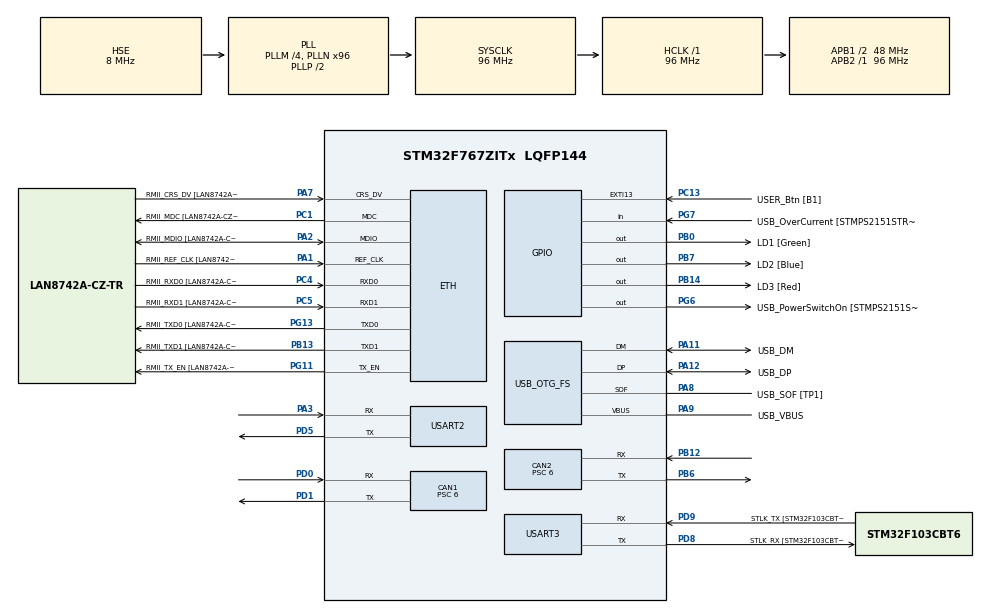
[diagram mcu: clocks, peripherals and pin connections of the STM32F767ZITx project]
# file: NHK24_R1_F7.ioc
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CAN1.BS1=CAN_BS1_6TQ
CAN1.CalculateBaudRate=1000000
CAN1.CalculateTimeBit=1000
CAN1.CalculateTimeQuantum=125.0
CAN1.Prescaler=6
CAN1.TXFP=ENABLE
CAN2.BS1=CAN_BS1_6TQ
CAN2.CalculateBaudRate=1000000
CAN2.CalculateTimeBit=1000
CAN2.CalculateTimeQuantum=125.0
CAN2.Prescaler=6
CAN2.TXFP=ENABLE
Dma.Request0=USART3_RX
Dma.Request1=USART3_TX
Dma.Request2=USART2_TX
Dma.USART2_TX.2.Direction=DMA_MEMORY_TO_PERIPH
Dma.USART2_TX.2.FIFOMode=DMA_FIFOMODE_DISABLE
Dma.USART2_TX.2.Instance=DMA1_Stream6
Dma.USART2_TX.2.MemDataAlignment=DMA_MDATAALIGN_BYTE
Dma.USART2_TX.2.MemInc=DMA_MINC_ENABLE
Dma.USART2_TX.2.Mode=DMA_NORMAL
Dma.USART2_TX.2.PeriphDataAlignment=DMA_PDATAALIGN_BYTE
Dma.USART2_TX.2.PeriphInc=DMA_PINC_DISABLE
Dma.USART2_TX.2.Priority=DMA_PRIORITY_LOW
Dma.USART3_RX.0.Direction=DMA_PERIPH_TO_MEMORY
Dma.USART3_RX.0.FIFOMode=DMA_FIFOMODE_DISABLE
Dma.USART3_RX.0.Instance=DMA1_Stream1
Dma.USART3_RX.0.MemDataAlignment=DMA_MDATAALIGN_BYTE
Dma.USART3_RX.0.MemInc=DMA_MINC_ENABLE
Dma.USART3_RX.0.Mode=DMA_CIRCULAR
Dma.USART3_RX.0.PeriphDataAlignment=DMA_PDATAALIGN_BYTE
Dma.USART3_RX.0.PeriphInc=DMA_PINC_DISABLE
Dma.USART3_RX.0.Priority=DMA_PRIORITY_VERY_HIGH
Dma.USART3_TX.1.Direction=DMA_MEMORY_TO_PERIPH
Dma.USART3_TX.1.FIFOMode=DMA_FIFOMODE_DISABLE
Dma.USART3_TX.1.Instance=DMA1_Stream3
Dma.USART3_TX.1.MemDataAlignment=DMA_MDATAALIGN_BYTE
Dma.USART3_TX.1.MemInc=DMA_MINC_ENABLE
Dma.USART3_TX.1.Mode=DMA_NORMAL
Dma.USART3_TX.1.PeriphDataAlignment=DMA_PDATAALIGN_BYTE
Dma.USART3_TX.1.PeriphInc=DMA_PINC_DISABLE
Dma.USART3_TX.1.Priority=DMA_PRIORITY_VERY_HIGH
ETH.MediaInterface=HAL_ETH_RMII_MODE
ETH.PHY_Name=LAN8742A_PHY_ADDRESS
ETH.PHY_Value=0
ETH.PhyAddress=0
FREERTOS.Tasks01=defaultTask,24,3000,StartDefaultTask,Default,NULL,Static,defaultTaskBuffer,defaultTaskControlBlock;LEDTask,8,128,StartLEDTask,Default,NULL,Static,LEDTaskBuffer,LEDTaskControlBlock
FREERTOS.Timers01=C620Timer,C620TimerCallback,osTimerPeriodic,Default,NULL,Static,C620TimerControlBlock
Mcu.Family=STM32F7
Mcu.Name=STM32F767ZITx
Mcu.Package=LQFP144
NVIC.CAN1_RX0_IRQn=true\:5\:0\:false\:false\:true\:true\:true\:true\:true
NVIC.CAN1_RX1_IRQn=true\:5\:0\:false\:false\:true\:true\:true\:true\:true
NVIC.CAN1_TX_IRQn=true\:5\:0\:false\:false\:true\:true\:true\:true\:true
NVIC.CAN2_RX0_IRQn=true\:5\:0\:false\:false\:true\:true\:true\:true\:true
NVIC.CAN2_RX1_IRQn=true\:5\:0\:false\:false\:true\:true\:true\:true\:true
NVIC.CAN2_TX_IRQn=true\:5\:0\:false\:false\:true\:true\:true\:true\:true
NVIC.DMA1_Stream1_IRQn=true\:5\:0\:false\:false\:true\:true\:false\:true\:true
NVIC.DMA1_Stream3_IRQn=true\:5\:0\:false\:false\:true\:true\:false\:true\:true
NVIC.DMA1_Stream6_IRQn=true\:5\:0\:false\:false\:true\:true\:false\:true\:true
NVIC.OTG_FS_IRQn=true\:5\:0\:false\:false\:true\:true\:false\:true\:true
NVIC.PriorityGroup=NVIC_PRIORITYGROUP_4
NVIC.TIM1_UP_TIM10_IRQn=true\:15\:0\:false\:false\:true\:false\:false\:true\:true
NVIC.TimeBase=TIM1_UP_TIM10_IRQn
NVIC.TimeBaseIP=TIM1
NVIC.USART2_IRQn=true\:5\:0\:false\:false\:true\:true\:true\:true\:true
NVIC.USART3_IRQn=true\:5\:0\:false\:false\:true\:true\:true\:true\:true
PA1.GPIO_Label=RMII_REF_CLK [LAN8742A-CZ-TR_REFCLK0]
PA1.Mode=RMII
PA1.Signal=ETH_REF_CLK
PA10.GPIO_Label=USB_ID
PA10.Signal=USB_OTG_FS_ID
PA11.GPIO_Label=USB_DM
PA11.Mode=Device_Only
PA11.Signal=USB_OTG_FS_DM
PA12.GPIO_Label=USB_DP
PA12.Mode=Device_Only
PA12.Signal=USB_OTG_FS_DP
PA13.GPIO_Label=TMS
PA13.Mode=Serial_Wire
PA13.Signal=SYS_JTMS-SWDIO
PA14.GPIO_Label=TCK
PA14.Mode=Serial_Wire
PA14.Signal=SYS_JTCK-SWCLK
PA2.GPIO_Label=RMII_MDIO [LAN8742A-CZ-TR_MDIO]
PA2.Mode=RMII
PA2.Signal=ETH_MDIO
PA3.Mode=Asynchronous
PA3.Signal=USART2_RX
PA7.GPIO_Label=RMII_CRS_DV [LAN8742A-CZ-TR_CRS_DV]
PA7.Mode=RMII
PA7.Signal=ETH_CRS_DV
PA8.GPIO_Label=USB_SOF [TP1]
PA8.Mode=Activate_SOF_FS
PA8.Signal=USB_OTG_FS_SOF
PA9.GPIO_Label=USB_VBUS
PA9.Mode=Activate_VBUS
PA9.Signal=USB_OTG_FS_VBUS
PB0.GPIO_Label=LD1 [Green]
PB0.Signal=GPIO_Output
PB12.Mode=CAN_Activate
PB12.Signal=CAN2_RX
PB13.GPIO_Label=RMII_TXD1 [LAN8742A-CZ-TR_TXD1]
PB13.Mode=RMII
PB13.Signal=ETH_TXD1
PB14.GPIO_Label=LD3 [Red]
PB14.Signal=GPIO_Output
PB3.GPIO_Label=SWO
PB3.Signal=SYS_JTDO-SWO
PB6.Mode=CAN_Activate
PB6.Signal=CAN2_TX
PB7.GPIO_Label=LD2 [Blue]
PB7.Signal=GPIO_Output
PC1.GPIO_Label=RMII_MDC [LAN8742A-CZ-TR_MDC]
PC1.Mode=RMII
PC1.Signal=ETH_MDC
PC13.GPIO_Label=USER_Btn [B1]
PC13.Signal=GPXTI13
PC14/OSC32_IN.Mode=LSE-External-Oscillator
PC14/OSC32_IN.Signal=RCC_OSC32_IN
PC15/OSC32_OUT.Mode=LSE-External-Oscillator
PC15/OSC32_OUT.Signal=RCC_OSC32_OUT
PC4.GPIO_Label=RMII_RXD0 [LAN8742A-CZ-TR_RXD0]
PC4.Mode=RMII
PC4.Signal=ETH_RXD0
PC5.GPIO_Label=RMII_RXD1 [LAN8742A-CZ-TR_RXD1]
PC5.Mode=RMII
PC5.Signal=ETH_RXD1
PD0.Mode=CAN_Activate
PD0.Signal=CAN1_RX
PD1.Mode=CAN_Activate
PD1.Signal=CAN1_TX
PD5.Mode=Asynchronous
PD5.Signal=USART2_TX
PD8.GPIO_Label=STLK_RX [STM32F103CBT6_PA3]
PD8.Mode=Asynchronous
PD8.Signal=USART3_TX
PD9.GPIO_Label=STLK_TX [STM32F103CBT6_PA2]
PD9.Mode=Asynchronous
PD9.Signal=USART3_RX
PG11.GPIO_Label=RMII_TX_EN [LAN8742A-CZ-TR_TXEN]
PG11.Mode=RMII
PG11.Signal=ETH_TX_EN
PG13.GPIO_Label=RMII_TXD0 [LAN8742A-CZ-TR_TXD0]
PG13.Mode=RMII
PG13.Signal=ETH_TXD0
PG6.GPIO_Label=USB_PowerSwitchOn [STMPS2151STR_EN]
PG6.Signal=GPIO_Output
PG7.GPIO_Label=USB_OverCurrent [STMPS2151STR_FAULT]
PG7.Signal=GPIO_Input
PH0/OSC_IN.GPIO_Label=MCO [STM32F103CBT6_PA8]
PH0/OSC_IN.Mode=HSE-External-Oscillator
PH0/OSC_IN.Signal=RCC_OSC_IN
PH1/OSC_OUT.Mode=HSE-External-Oscillator
PH1/OSC_OUT.Signal=RCC_OSC_OUT
ProjectManager.HeapSize=0x200
ProjectManager.StackSize=0x400
ProjectManager.TargetToolchain=STM32CubeIDE
RCC.48MHZClocksFreq_Value=24000000
RCC.AHBFreq_Value=96000000
RCC.APB1CLKDivider=RCC_HCLK_DIV2
RCC.APB1Freq_Value=48000000
RCC.APB1TimFreq_Value=96000000
RCC.APB2Freq_Value=96000000
RCC.APB2TimFreq_Value=96000000
RCC.CortexFreq_Value=96000000
RCC.HCLKFreq_Value=96000000
RCC.HSE_VALUE=8000000
RCC.HSI_VALUE=16000000
RCC.PLLM=4
RCC.PLLMUL=RCC_PLL_MUL9
RCC.PLLN=96
RCC.PLLQ=4
RCC.PRESCALERUSB=RCC_USBCLKSOURCE_PLL_DIV1_5
RCC.SYSCLKFreq_VALUE=96000000
RCC.SYSCLKSource=RCC_SYSCLKSOURCE_PLLCLK
RCC.SYSCLKSourceVirtual=RCC_SYSCLKSOURCE_PLLCLK
RCC.USBFreq_Value=48000000
RCC.VCOOutputFreq_Value=192000000
USART2.VirtualMode-Asynchronous=VM_ASYNC
USART3.VirtualMode-Asynchronous=VM_ASYNC
USB_DEVICE.CLASS_NAME_FS=CDC
USB_DEVICE.VirtualMode-CDC_FS=Cdc
USB_DEVICE.VirtualModeFS=Cdc_FS
USB_OTG_FS.VirtualMode=Device_Only
VP_FREERTOS_VS_CMSIS_V2.Mode=CMSIS_V2
VP_SYS_VS_tim1.Mode=TIM1
VP_USB_DEVICE_VS_USB_DEVICE_CDC_FS.Mode=CDC_FS
board=NUCLEO-F767ZI

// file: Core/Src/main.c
/* USER CODE BEGIN Header */
/**
  ******************************************************************************
  * @file           : main.c
  * @brief          : Main program body
  ******************************************************************************
  * @attention
  *
  * Copyright (c) 2023 STMicroelectronics.
  * All rights reserved.
  *
  * This software is licensed under terms that can be found in the LICENSE file
  * in the root directory of this software component.
  * If no LICENSE file comes with this software, it is provided AS-IS.
  *
  ******************************************************************************
  */
/* USER CODE END Header */
#include "main.h"
#include "cmsis_os.h"
#include "can.h"
#include "dma.h"
#include "eth.h"
#include "usart.h"
#include "usb_device.h"
#include "gpio.h"

/* USER CODE BEGIN Includes */
#include <rmw_microros/rmw_microros.h>
#include "can_utils.h"
#include "stdio.h"
#include "c620_utils.h"
/* USER CODE END Includes */

/* USER CODE BEGIN PD */
#define DISABLE_CAN_WAIT_CONNECT 1
#define DISABLE_C620_WAIT_CONNECT 1	//TODO:0 ni modosu
/* USER CODE END PD */

void SystemClock_Config(void);
void MX_FREERTOS_Init(void);
/* USER CODE BEGIN PFP */
void SystemClock_Config(void);
void MX_FREERTOS_Init(void);
/* USER CODE BEGIN PFP */
#ifdef __GNUC__
#define PUTCHAR_PROTOTYPE int __io_putchar(uint8_t ch)
#else
#define PUTCHAR_PROTOTYPE int fputc(int ch, FILE *f)
#endif /* __GNUC__ */

PUTCHAR_PROTOTYPE {
    HAL_UART_Transmit(&huart2, &ch, 1, 500);
    return ch;
}

void HAL_CAN_TxMailbox0CompleteCallback(CAN_HandleTypeDef *hcan){
    C620_WhenTxMailboxCompleteCallbackCalled(hcan);
    CANLib_WhenTxMailbox0_1_2CompleteCallbackCalled(hcan);
}

void HAL_CAN_TxMailbox0AbortCallback(CAN_HandleTypeDef *hcan){
    C620_WhenTxMailboxAbortCallbackCalled(hcan);
    CANLib_WhenTxMailbox0_1_2AbortCallbackCalled(hcan);
}

void HAL_CAN_TxMailbox1CompleteCallback(CAN_HandleTypeDef *hcan){
    C620_WhenTxMailboxCompleteCallbackCalled(hcan);
    CANLib_WhenTxMailbox0_1_2CompleteCallbackCalled(hcan);
}

void HAL_CAN_TxMailbox1AbortCallback(CAN_HandleTypeDef *hcan){
    C620_WhenTxMailboxAbortCallbackCalled(hcan);
    CANLib_WhenTxMailbox0_1_2AbortCallbackCalled(hcan);
}

void HAL_CAN_TxMailbox2CompleteCallback(CAN_HandleTypeDef *hcan){
    C620_WhenTxMailboxCompleteCallbackCalled(hcan);
    CANLib_WhenTxMailbox0_1_2CompleteCallbackCalled(hcan);
}

void HAL_CAN_TxMailbox2AbortCallback(CAN_HandleTypeDef *hcan){
    C620_WhenTxMailboxAbortCallbackCalled(hcan);
    CANLib_WhenTxMailbox0_1_2AbortCallbackCalled(hcan);
}

void HAL_CAN_RxFifo0MsgPendingCallback(CAN_HandleTypeDef *hcan){
    WhenCANRxFifo0MsgPending(hcan, &num_of_devices);
}

void HAL_CAN_RxFifo1MsgPendingCallback(CAN_HandleTypeDef *hcan){
    C620_WhenCANRxFifo1MsgPending(hcan);
}
/* USER CODE END PFP */

int main(void)
{

  /* MCU Configuration--------------------------------------------------------*/

  /* Reset of all peripherals, Initializes the Flash interface and the Systick. */
  HAL_Init();

  /* Configure the system clock */
  SystemClock_Config();

  /* Initialize all configured peripherals */
  MX_GPIO_Init();
  MX_DMA_Init();
  MX_USART3_UART_Init();
  MX_ETH_Init();
  MX_CAN1_Init();
  MX_CAN2_Init();
  MX_USART2_UART_Init();
  /* USER CODE BEGIN 2 */
  setbuf(stdout, NULL);
  setbuf(stderr, NULL);

  /*
    * ===== CANLib Settings =====
    * */
   HAL_GPIO_TogglePin(GPIOB, GPIO_PIN_14);  // LD3 (RED) ON
   printf("Start Initializing CAN System:Begin\n\r");

   num_of_devices.mcmd3 = NUM_OF_MCMD3; //0
//   num_of_devices.mcmd4 = 0;
   num_of_devices.mcmd4 = NUM_OF_MCMD4;  // TODO: こっちが正しい -> 0
   num_of_devices.air = 2;  // TODO: 2にする

   CAN_SystemInit(&hcan2); // F7のCAN通信のinit
   printf("Start Initializing CAN System:End\n\r");
   if(!DISABLE_CAN_WAIT_CONNECT)CAN_WaitConnect(&num_of_devices);
   HAL_GPIO_TogglePin(GPIOB, GPIO_PIN_7);  // LD2 (Blue) ON

//
// MCMDは2搭載
//

#define calib_
#define debug

#if !defined(debug)
   if((NUM_OF_MCMD4 != 0)||(NUM_OF_MCMD3 != 0)) {

	   //set for rollers
	   mcmd_handlers[0].device.node_id=2;
	   mcmd_handlers[1].device.node_id=2;
	   mcmd_handlers[2].device.node_id=0;
	   mcmd_handlers[0].device.device_num=0;
	   mcmd_handlers[1].device.device_num=1;
	   mcmd_handlers[2].device.device_num=0;

	   for(int i=0; i<3; i++){
	 	  mcmd_handlers[i].device.node_type=NODE_MCMD4;

	       mcmd_handlers[i].ctrl_param.ctrl_type=MCMD_CTRL_DUTY;
	       mcmd_handlers[i].ctrl_param.PID_param.kp=0.10f;
	       mcmd_handlers[i].ctrl_param.PID_param.ki=0.0f;
	       mcmd_handlers[i].ctrl_param.PID_param.kd=0.0f;
	       mcmd_handlers[i].ctrl_param.accel_limit=ACCEL_LIMIT_ENABLE;
	       mcmd_handlers[i].ctrl_param.accel_limit_size=2.0f;
	       mcmd_handlers[i].ctrl_param.feedback=MCMD_FB_ENABLE;
	       mcmd_handlers[i].ctrl_param.timup_monitor=TIMUP_MONITOR_DISABLE;
	       mcmd_handlers[0].enc_dir=MCMD_DIR_BC;
	       mcmd_handlers[0].rot_dir=MCMD_DIR_FW;
	       mcmd_handlers[1].enc_dir=MCMD_DIR_BC;
	       mcmd_handlers[1].rot_dir=MCMD_DIR_FW;
	       mcmd_handlers[2].enc_dir=MCMD_DIR_FW;
	       mcmd_handlers[2].rot_dir=MCMD_DIR_BC;
	       mcmd_handlers[i].quant_per_unit=1.0f;

	       mcmd_handlers[i].limit_sw_type=LIMIT_SW_NC;
	       mcmd_handlers[i].calib=CALIBRATION_DISABLE;
	       mcmd_handlers[i].calib_duty=-0.1f;
	       mcmd_handlers[i].offset=0.0f;
	       mcmd_handlers[i].fb_type=MCMD_FB_VEL;

	       MCMD_init(&mcmd_handlers[i]);
	       osDelay(10);
//	       MCMD_Calib(&mcmd_handlers[i]);
	       osDelay(10);
	       MCMD_SetTarget(&mcmd_handlers[i], 0.0f);
	       osDelay(10);
	       MCMD_Control_Enable(&mcmd_handlers[i]);
	   }

	    //set for turntable
	   mcmd_handlers[3].device.node_id=NODE_MCMD3;
	   mcmd_handlers[3].device.node_id=0;
	   mcmd_handlers[3].device.device_num=1;

	   mcmd_handlers[3].ctrl_param.ctrl_type=MCMD_CTRL_POS;
	   mcmd_handlers[3].ctrl_param.PID_param.kp=0.10f;
	   mcmd_handlers[3].ctrl_param.PID_param.ki=0.0f;
	   mcmd_handlers[3].ctrl_param.PID_param.kd=0.0f;
	   mcmd_handlers[3].ctrl_param.accel_limit=ACCEL_LIMIT_ENABLE;
	   mcmd_handlers[3].ctrl_param.accel_limit_size=2.0f;
	   mcmd_handlers[3].ctrl_param.feedback=MCMD_FB_ENABLE;
	   mcmd_handlers[3].ctrl_param.timup_monitor=TIMUP_MONITOR_DISABLE;
	   mcmd_handlers[3].enc_dir=MCMD_DIR_FW;
	   mcmd_handlers[3].rot_dir=MCMD_DIR_FW;
	   mcmd_handlers[3].quant_per_unit=2.0*M_PI/33.0625;

	   mcmd_handlers[3].limit_sw_type=LIMIT_SW_NC;
#ifdef calib_
	   mcmd_handlers[3].calib=CALIBRATION_ENABLE;
#else
	   mcmd_handlers[3].calib=CALIBRATION_DISABLE;
#endif
	   mcmd_handlers[3].calib_duty=-0.1f;
	   mcmd_handlers[3].offset=0.0f;
	   mcmd_handlers[3].fb_type=MCMD_FB_POS;
	   MCMD_init(&mcmd_handlers[3]);
	   osDelay(10);
	   MCMD_Calib(&mcmd_handlers[3]);
	   osDelay(2000);
	   MCMD_SetTarget(&mcmd_handlers[3], 0.0f);
	   osDelay(10);
	   MCMD_Control_Enable(&mcmd_handlers[3]);

   }
#endif

   // air cylinder

   if(NUM_OF_AIR != 0) {
       air_devices[0].node_type = NODE_AIR;
       air_devices[0].node_id = 1;
       air_devices[0].device_num = PORT_1;

       air_devices[1].node_type = NODE_AIR;
       air_devices[1].node_id = 1;
       air_devices[1].device_num = PORT_1;

       for (uint8_t j = 0; j < NUM_OF_AIR; j++) {
           for (uint8_t i = 0; i <= (uint8_t) PORT_8; i++) {
               air_devices[i].device_num = j;
               AirCylinder_Init(&air_devices[i], AIR_OFF);
           }
       }

       air_devices[0].device_num = PORT_1; //port1に戻す
       air_devices[1].device_num = PORT_1; //port1に戻す

 //      AirCylinder_SendOutput(&air_devices[0], AIR_ON);
 //      AirCylinder_SendOutput(&air_devices[1], AIR_OFF);
   }

   HAL_GPIO_TogglePin(GPIOB, GPIO_PIN_0);  // LD1 (GREEN) ON
   Init_C620_CAN_System(&hcan1);  // Init CAN System for C620
   C620_Init(c620_dev_info_global, num_of_c620);

//   c620_dev_info_global[0].device_id = 1;  // 1スタートな事に注意
//   c620_dev_info_global[0].ctrl_param.accel_limit = C620_ACCEL_LIMIT_ENABLE;
////    c620_dev_info_global[0].ctrl_param.use_internal_offset = C620_USE_OFFSET_POS_CALIB;
//   c620_dev_info_global[0].ctrl_param.use_internal_offset = C620_USE_OFFSET_POS_INTERNAL;
//   c620_dev_info_global[0].ctrl_param.ctrl_type = C620_CTRL_POS;
//   c620_dev_info_global[0].ctrl_param.accel_limit_size = 15.0f;
////    c620_dev_info_global[0].ctrl_param.accel_limit_size = 5.0f;
//   c620_dev_info_global[0].ctrl_param.quant_per_rot = 1.0f/19.0f / 3.0f * 3.141592f * 2.0f;  //M3508は19:1
//   c620_dev_info_global[0].ctrl_param.rotation = C620_ROT_ACW;
//
//   c620_dev_info_global[0].ctrl_param.pid_vel.kp = 4.5f;  // 位置制御の場合はpid_velに速度制御用のgainを設定する
//   c620_dev_info_global[0].ctrl_param.pid_vel.ki = 0.0f;
//   c620_dev_info_global[0].ctrl_param.pid_vel.kd = 0.0f;
//   c620_dev_info_global[0].ctrl_param.pid_vel.kff = 0.0f;
//
////    c620_dev_info_global[0].ctrl_param.pid.kp = 10.0f;  // 位置制御用
//   c620_dev_info_global[0].ctrl_param.pid.kp = 12.3f;  // 位置制御用
//   c620_dev_info_global[0].ctrl_param.pid.ki = 0.16f;
////    c620_dev_info_global[0].ctrl_param.pid.ki = 0.0f;
//   c620_dev_info_global[0].ctrl_param.pid.kd = 0.0f;
//   c620_dev_info_global[0].ctrl_param.pid.kff = 0.0f;
//
//
//
//   c620_dev_info_global[1].device_id = 2;
//   c620_dev_info_global[1].ctrl_param.accel_limit = C620_ACCEL_LIMIT_ENABLE;
//   c620_dev_info_global[1].ctrl_param.use_internal_offset = C620_USE_OFFSET_POS_INTERNAL;
//   c620_dev_info_global[1].ctrl_param.ctrl_type = C620_CTRL_POS;
//   c620_dev_info_global[1].ctrl_param.accel_limit_size = 1500.0f;
////    c620_dev_info_global[1].ctrl_param.accel_limit_size = 800.0f;
//   c620_dev_info_global[1].ctrl_param.quant_per_rot = 1.0f/19.0f * 300.0f;  //M3508は19:1
//   c620_dev_info_global[1].ctrl_param.rotation = C620_ROT_CW;
//
////    c620_dev_info_global[1].ctrl_param.pid_vel.kp = 0.1f;  // 位置制御の場合はpid_velに速度制御用のgainを設定する  // TODO: これまでのgain
//   c620_dev_info_global[1].ctrl_param.pid_vel.kp = 0.15f;  // 位置制御の場合はpid_velに速度制御用のgainを設定する
//   c620_dev_info_global[1].ctrl_param.pid_vel.ki = 0.0f;
//   c620_dev_info_global[1].ctrl_param.pid_vel.kd = 0.0f;
//   c620_dev_info_global[1].ctrl_param.pid_vel.kff = 0.0f;
//
//   c620_dev_info_global[1].ctrl_param.pid.kp = 10.0f;  // 位置制御用
////    c620_dev_info_global[1].ctrl_param.pid.kp = 9.0f;  // 位置制御用
//   c620_dev_info_global[1].ctrl_param.pid.ki = 0.05f;
////    c620_dev_info_global[1].ctrl_param.pid.ki = 0.1f;
//   c620_dev_info_global[1].ctrl_param.pid.kd = 0.0f;
//   c620_dev_info_global[1].ctrl_param.pid.kff = 0.0f;
//
//   HAL_GPIO_TogglePin(GPIOB, GPIO_PIN_0);  // LD1 (GREEN) ON
//   Init_C620_CAN_System(&hcan1);  // Init CAN System for C620
//   C620_Init(c620_dev_info_global, num_of_c620);
//
//
//   c620_dev_info_global[2].device_id = 3;  // 1スタートな事に注意
//   c620_dev_info_global[2].ctrl_param.accel_limit = C620_ACCEL_LIMIT_ENABLE;
////    c620_dev_info_global[2].ctrl_param.use_internal_offset = C620_USE_OFFSET_POS_CALIB;
//   c620_dev_info_global[2].ctrl_param.use_internal_offset = C620_USE_OFFSET_POS_INTERNAL;
//   c620_dev_info_global[2].ctrl_param.ctrl_type = C620_CTRL_POS;
//   c620_dev_info_global[2].ctrl_param.accel_limit_size = 15.0f;
////    c620_dev_info_global[2].ctrl_param.accel_limit_size = 5.0f;
//   c620_dev_info_global[2].ctrl_param.quant_per_rot = 1.0f/19.0f / 3.0f * 3.141592f * 2.0f;  //M3508は19:1
//   c620_dev_info_global[2].ctrl_param.rotation = C620_ROT_ACW;
//
//   c620_dev_info_global[2].ctrl_param.pid_vel.kp = 4.5f;  // 位置制御の場合はpid_velに速度制御用のgainを設定する
//   c620_dev_info_global[2].ctrl_param.pid_vel.ki = 0.0f;
//   c620_dev_info_global[2].ctrl_param.pid_vel.kd = 0.0f;
//   c620_dev_info_global[2].ctrl_param.pid_vel.kff = 0.0f;
//
////    c620_dev_info_global[2].ctrl_param.pid.kp = 10.0f;  // 位置制御用
//   c620_dev_info_global[2].ctrl_param.pid.kp = 12.3f;  // 位置制御用
//   c620_dev_info_global[2].ctrl_param.pid.ki = 0.16f;
////    c620_dev_info_global[2].ctrl_param.pid.ki = 0.0f;
//   c620_dev_info_global[2].ctrl_param.pid.kd = 0.0f;
//   c620_dev_info_global[2].ctrl_param.pid.kff = 0.0f;
//
//
//   c620_dev_info_global[3].device_id = 4;
//   c620_dev_info_global[3].ctrl_param.accel_limit = C620_ACCEL_LIMIT_ENABLE;
//   c620_dev_info_global[3].ctrl_param.use_internal_offset = C620_USE_OFFSET_POS_INTERNAL;
//   c620_dev_info_global[3].ctrl_param.ctrl_type = C620_CTRL_POS;
//   c620_dev_info_global[3].ctrl_param.accel_limit_size = 1500.0f;
////    c620_dev_info_global[3].ctrl_param.accel_limit_size = 800.0f;
//   c620_dev_info_global[3].ctrl_param.quant_per_rot = 1.0f/19.0f * 300.0f;  //M3508は19:1
//   c620_dev_info_global[3].ctrl_param.rotation = C620_ROT_CW;
//
////    c620_dev_info_global[3].ctrl_param.pid_vel.kp = 0.1f;  // 位置制御の場合はpid_velに速度制御用のgainを設定する  // TODO: これまでのgain
//   c620_dev_info_global[3].ctrl_param.pid_vel.kp = 0.15f;  // 位置制御の場合はpid_velに速度制御用のgainを設定する
//   c620_dev_info_global[3].ctrl_param.pid_vel.ki = 0.0f;
//   c620_dev_info_global[3].ctrl_param.pid_vel.kd = 0.0f;
//   c620_dev_info_global[3].ctrl_param.pid_vel.kff = 0.0f;
//
//   c620_dev_info_global[3].ctrl_param.pid.kp = 10.0f;  // 位置制御用
////    c620_dev_info_global[3].ctrl_param.pid.kp = 9.0f;  // 位置制御用
//   c620_dev_info_global[3].ctrl_param.pid.ki = 0.05f;
////    c620_dev_info_global[3].ctrl_param.pid.ki = 0.1f;
//   c620_dev_info_global[3].ctrl_param.pid.kd = 0.0f;
//   c620_dev_info_global[3].ctrl_param.pid.kff = 0.0f;
//

   //TODO: 足回りの統一
   for(int i=0; i<num_of_c620; i++){
   	  c620_dev_info_global[i].device_id = i+1;//1スタートな事に注意
   	  c620_dev_info_global[i].ctrl_param.accel_limit = C620_ACCEL_LIMIT_ENABLE;
   	  //c620_dev_info_global[i].ctrl_param.use_internal_offset = C620_USE_OFFSET_POS_CALIB;//リミットスイッチを使ったCalibrationによって原点を決める場合
   	  c620_dev_info_global[i].ctrl_param.use_internal_offset = C620_USE_OFFSET_POS_INTERNAL;//最初の位置を原点とする場合
   	  c620_dev_info_global[i].ctrl_param.ctrl_type = C620_CTRL_VEL;//VELやCURRENT(電流)もある
   	  c620_dev_info_global[i].ctrl_param.accel_limit_size = 5.0f;
   	  c620_dev_info_global[i].ctrl_param.quant_per_rot = 12.0f * M_PI /19.0f;//M3508は19:1
   	  c620_dev_info_global[0].ctrl_param.rotation = C620_ROT_ACW;//半時計周り
   	  c620_dev_info_global[1].ctrl_param.rotation = C620_ROT_ACW;//半時計周り
   	  c620_dev_info_global[2].ctrl_param.rotation = C620_ROT_CW;//時計周り
   	  c620_dev_info_global[3].ctrl_param.rotation = C620_ROT_CW;//時計周り

   	  c620_dev_info_global[i].ctrl_param.pid_vel.kp = 0.5f;//位置制御の場合はpid_velに速度制御用のgainを設定する
   	  c620_dev_info_global[i].ctrl_param.pid_vel.ki = 0.0f;
   	  c620_dev_info_global[i].ctrl_param.pid_vel.kd = 0.0f;
   	  c620_dev_info_global[i].ctrl_param.pid_vel.kff = 0.0f;

   	  c620_dev_info_global[i].ctrl_param.pid.kp = 5.0f;//位置制御用
   	  c620_dev_info_global[i].ctrl_param.pid.ki = 0.0f;
   	  c620_dev_info_global[i].ctrl_param.pid.kd = 0.0f;
   	  c620_dev_info_global[i].ctrl_param.pid.kff = 0.0f;
     }

   for(int i=0; i<num_of_c620; i++)C620_SetTarget(&c620_dev_info_global[i], 0.0f);
   if(!DISABLE_C620_WAIT_CONNECT)C620_WaitForConnect(c620_dev_info_global, num_of_c620);
//    for(int i=0; i<num_of_c620; i++){
//        C620_Calibration(&c620_dev_info_global[i], -2.0f, SWITCH_NO, GPIOG, GPIO_PIN_1, &hcan1);
//        C620_ControlEnable(&(c620_dev_info_global[i]));
//    }
   for(int i=0; i<num_of_c620; i++)C620_ControlEnable(&(c620_dev_info_global[i]));

   printf("C620 Control:Enabled(VEL)\n\r");

 //  HAL_GPIO_TogglePin(GPIOB, GPIO_PIN_14);  // LD3 (RED) -> OFF
   HAL_GPIO_TogglePin(GPIOB, GPIO_PIN_0);  // LD1 (GREEN) -> OFF
  /* USER CODE END 2 */

  /* Init scheduler */
  osKernelInitialize();  /* Call init function for freertos objects (in freertos.c) */
  MX_FREERTOS_Init();

  /* Start scheduler */
  osKernelStart();

  /* We should never get here as control is now taken by the scheduler */
  /* Infinite loop */
  while (1)
  {

  }
}

void SystemClock_Config(void)
{
  RCC_OscInitTypeDef RCC_OscInitStruct = {0};
  RCC_ClkInitTypeDef RCC_ClkInitStruct = {0};

  /** Configure LSE Drive Capability
  */
  HAL_PWR_EnableBkUpAccess();

  /** Configure the main internal regulator output voltage
  */
  __HAL_RCC_PWR_CLK_ENABLE();
  __HAL_PWR_VOLTAGESCALING_CONFIG(PWR_REGULATOR_VOLTAGE_SCALE3);

  /** Initializes the RCC Oscillators according to the specified parameters
  * in the RCC_OscInitTypeDef structure.
  */
  RCC_OscInitStruct.OscillatorType = RCC_OSCILLATORTYPE_HSE;
  RCC_OscInitStruct.HSEState = RCC_HSE_ON;
  RCC_OscInitStruct.PLL.PLLState = RCC_PLL_ON;
  RCC_OscInitStruct.PLL.PLLSource = RCC_PLLSOURCE_HSE;
  RCC_OscInitStruct.PLL.PLLM = 4;
  RCC_OscInitStruct.PLL.PLLN = 96;
  RCC_OscInitStruct.PLL.PLLP = RCC_PLLP_DIV2;
  RCC_OscInitStruct.PLL.PLLQ = 4;
  RCC_OscInitStruct.PLL.PLLR = 2;
  if (HAL_RCC_OscConfig(&RCC_OscInitStruct) != HAL_OK)
  {
    Error_Handler();
  }

  /** Activate the Over-Drive mode
  */
  if (HAL_PWREx_EnableOverDrive() != HAL_OK)
  {
    Error_Handler();
  }

  /** Initializes the CPU, AHB and APB buses clocks
  */
  RCC_ClkInitStruct.ClockType = RCC_CLOCKTYPE_HCLK|RCC_CLOCKTYPE_SYSCLK
                              |RCC_CLOCKTYPE_PCLK1|RCC_CLOCKTYPE_PCLK2;
  RCC_ClkInitStruct.SYSCLKSource = RCC_SYSCLKSOURCE_PLLCLK;
  RCC_ClkInitStruct.AHBCLKDivider = RCC_SYSCLK_DIV1;
  RCC_ClkInitStruct.APB1CLKDivider = RCC_HCLK_DIV2;
  RCC_ClkInitStruct.APB2CLKDivider = RCC_HCLK_DIV1;

  if (HAL_RCC_ClockConfig(&RCC_ClkInitStruct, FLASH_LATENCY_3) != HAL_OK)
  {
    Error_Handler();
  }
}

void HAL_TIM_PeriodElapsedCallback(TIM_HandleTypeDef *htim)
{
  if (htim->Instance == TIM1) {
    HAL_IncTick();
  }
}

void Error_Handler(void)
{
  __disable_irq();
  while (1)
  {
  }
}

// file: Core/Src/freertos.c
/* USER CODE BEGIN Header */
/**
  ******************************************************************************
  * File Name          : freertos.c
  * Description        : Code for freertos applications
  ******************************************************************************
  * @attention
  *
  * Copyright (c) 2023 STMicroelectronics.
  * All rights reserved.
  *
  * This software is licensed under terms that can be found in the LICENSE file
  * in the root directory of this software component.
  * If no LICENSE file comes with this software, it is provided AS-IS.
  *
  ******************************************************************************
  */
/* USER CODE END Header */

#include "FreeRTOS.h"
#include "task.h"
#include "main.h"
#include "cmsis_os.h"

/* USER CODE BEGIN Includes */
#include <rcl/rcl.h>
#include <rcl/error_handling.h>
#include <rosidl_runtime_c/primitives_sequence_functions.h>

#include <rclc/rclc.h>
#include <rclc/executor.h>
#include <uxr/client/transport.h>
#include <rmw_microxrcedds_c/config.h>
#include <rmw_microros/rmw_microros.h>
#include <std_msgs/msg/float64.h>
#include <std_msgs/msg/int32_multi_array.h>
#include <geometry_msgs/msg/twist.h>
#include <geometry_msgs/msg/quaternion.h>
#include <actuator_custom_msgs/msg/hand_air_status.h>
#include <actuator_custom_msgs/msg/shoot_air_status.h>
#include <actuator_custom_msgs/msg/shoot_roller.h>

#include <usart.h>

#include "can_utils.h"
#include "can.h"

#include "math.h"

#include "c620_utils.h"
/* USER CODE END Includes */

typedef StaticTask_t osStaticThreadDef_t;
typedef StaticTimer_t osStaticTimerDef_t;

/* USER CODE BEGIN PD */
#define RCCHECK(fn) { rcl_ret_t temp_rc = fn; if((temp_rc != RCL_RET_OK)){printf("Failed status on line %d: %d. Aborting.\n",__LINE__,(int)temp_rc);vTaskDelete(NULL);}}
#define RCSOFTCHECK(fn) { rcl_ret_t temp_rc = fn; if((temp_rc != RCL_RET_OK)){printf("Failed status on line %d: %d. Continuing.\n",__LINE__,(int)temp_rc);}}

bool cubemx_transport_open(struct uxrCustomTransport * transport);
bool cubemx_transport_close(struct uxrCustomTransport * transport);
size_t cubemx_transport_write(struct uxrCustomTransport* transport, const uint8_t * buf, size_t len, uint8_t * err);
size_t cubemx_transport_read(struct uxrCustomTransport* transport, uint8_t* buf, size_t len, int timeout, uint8_t* err);

void * microros_allocate(size_t size, void * state);
void microros_deallocate(void * pointer, void * state);
void * microros_reallocate(void * pointer, size_t size, void * state);
void * microros_zero_allocate(size_t number_of_elements, size_t size_of_element, void * state);
/* USER CODE END PD */

/* USER CODE BEGIN PM */

rcl_publisher_t publisher_enc1,publisher_enc2;
/* USER CODE END PM */

/* Definitions for defaultTask */
osThreadId_t defaultTaskHandle;
uint32_t defaultTaskBuffer[ 3000 ];
osStaticThreadDef_t defaultTaskControlBlock;
const osThreadAttr_t defaultTask_attributes = {
  .name = "defaultTask",
  .cb_mem = &defaultTaskControlBlock,
  .cb_size = sizeof(defaultTaskControlBlock),
  .stack_mem = &defaultTaskBuffer[0],
  .stack_size = sizeof(defaultTaskBuffer),
  .priority = (osPriority_t) osPriorityNormal,
};
/* Definitions for LEDTask */
osThreadId_t LEDTaskHandle;
uint32_t LEDTaskBuffer[ 128 ];
osStaticThreadDef_t LEDTaskControlBlock;
const osThreadAttr_t LEDTask_attributes = {
  .name = "LEDTask",
  .cb_mem = &LEDTaskControlBlock,
  .cb_size = sizeof(LEDTaskControlBlock),
  .stack_mem = &LEDTaskBuffer[0],
  .stack_size = sizeof(LEDTaskBuffer),
  .priority = (osPriority_t) osPriorityLow,
};
/* Definitions for C620Timer */
osTimerId_t C620TimerHandle;
osStaticTimerDef_t C620TimerControlBlock;
const osTimerAttr_t C620Timer_attributes = {
  .name = "C620Timer",
  .cb_mem = &C620TimerControlBlock,
  .cb_size = sizeof(C620TimerControlBlock),
};

/* USER CODE BEGIN FunctionPrototypes */

//TODO:publisher callback の必要性の検討

//void pub_timer_callback_enc1(rcl_timer_t * timer, int64_t last_call_time){
//    RCLC_UNUSED(last_call_time);
//    std_msgs__msg__Float64 data_msg;
//
//    if (timer != NULL) {
//
//
//
//    }
//}
//
//void pub_timer_callback_enc2(rcl_timer_t * timer, int64_t last_call_time){
//    RCLC_UNUSED(last_call_time);
//    std_msgs__msg__Float64 data_msg;
//
//    if (timer != NULL) {
//
//
//
//    }
//}
//
//void pub_timer_callback_line(rcl_timer_t * timer, int64_t last_call_time){
//    RCLC_UNUSED(last_call_time);
//    geometry_msgs__msg__Quaternion line_sensor;
//
//    if (timer != NULL) {
//
//
//
//    }
//}

void subscription_callback_air_hand(const void * msgin)
{
	 // Cast received message to used type
	  const actuator_custom_msgs__msg__HandAirStatus * status = (const actuator_custom_msgs__msg__HandAirStatus *)msgin;
	  static Air_PortStatus_Typedef air_status[6];

	  air_status[0] = (status->a1) ? AIR_ON : AIR_OFF;
	  air_status[1] = (status->a2) ? AIR_ON : AIR_OFF;
	  air_status[2] = (status->a3) ? AIR_ON : AIR_OFF;
	  air_status[3] = (status->a4) ? AIR_ON : AIR_OFF;
	  air_status[4] = (status->a5) ? AIR_ON : AIR_OFF;
	  air_status[5] = (status->a6) ? AIR_ON : AIR_OFF;

	  if(NUM_OF_AIR>0){
		  for(int i=0;i<NUM_OF_AIR-1;i++){
			  for(int j=0;j<6;j++){       //TODO: j<6は手動
				  air_devices[i].device_num = j;
				  AirCylinder_SendOutput(&air_devices[i], air_status[i]);
			  }
		  }
	  }

	  if(air_status[0]) 	 HAL_GPIO_TogglePin(GPIOB, GPIO_PIN_0);
	//  if(air_status[1]) 	 HAL_GPIO_TogglePin(GPIOB, GPIO_PIN_14);

}

void subscription_callback_air_shoot(const void * msgin)
{
	 // Cast received message to used type
	  const actuator_custom_msgs__msg__ShootAirStatus * status = (const actuator_custom_msgs__msg__ShootAirStatus *)msgin;
	  static Air_PortStatus_Typedef air_status[4];

	  air_status[0] = (status->ca) ? AIR_ON : AIR_OFF;
	  air_status[1] = (status->pi) ? AIR_ON : AIR_OFF;
	  air_status[3] = (status->gu) ? AIR_ON : AIR_OFF;
	  air_status[2] = (status->sh) ? AIR_ON : AIR_OFF;

	  if(NUM_OF_AIR>0){
		  for(int i=1;i<NUM_OF_AIR;i++){
			  for(int j=0;j<4;j++){       //TODO: j<4は手動
				  air_devices[i].device_num = j;
				  AirCylinder_SendOutput(&air_devices[i], air_status[i]);
			  }
		  }
	  }
}

void subscription_callback_mcmd(const void * msgin)
{
	 // Cast received message to used type
	  const actuator_custom_msgs__msg__ShootRoller * rotvels = (const actuator_custom_msgs__msg__ShootRoller *)msgin;
	  static int rpm[3];	//発射用モーター３つ

	  //rpm =  (float)(rotvels->data);
	  rpm[0] = rotvels->m1;		//under duty 0.1
	  rpm[1] = rotvels->m2;		//upper duty 0.4
	  rpm[2] = rotvels->m3;		//upper duty 0.4

	  for(int i=0;i<3;i++){
	  //	rpm[i] = (float)(rotvels->data[i]);
		  MCMD_SetTarget(&(mcmd_handlers[i]), (float)rpm[i]);
	  }

}

void subscription_callback_table(const void * msgin)
{
	 // Cast received message to used type
	  const std_msgs__msg__Float64 * zrot = (const std_msgs__msg__Float64 *)msgin;
	  static float zrot_rad;
	  zrot_rad = zrot->data;

	  MCMD_SetTarget(&(mcmd_handlers[4]), zrot_rad);

}

void subscription_callback(const void * msgin)
{
	 // Cast received message to used type
	  const geometry_msgs__msg__Twist * twist = (const geometry_msgs__msg__Twist *)msgin;
	  static float v_x,v_y,v_theta;

	  v_x = twist->linear.x;
	  v_y = twist->linear.y;
	  v_theta = twist->angular.z;

	  HAL_GPIO_TogglePin(GPIOB, GPIO_PIN_7);

	  Linearmovement(c620_dev_info_global, v_x, v_y, v_theta);
}
//subscriber template

//void subscription_callback(const void * msgin)
//{
//	 // Cast received message to used type
//	  const std_msgs__msg__Int32MultiArray * rotvels = (const std_msgs__msg__Int32MultiArray *)msgin;
//
//
//
//}

/* USER CODE END FunctionPrototypes */

void StartDefaultTask(void *argument);
void StartLEDTask(void *argument);
void C620TimerCallback(void *argument);

extern void MX_USB_DEVICE_Init(void);
void MX_FREERTOS_Init(void); /* (MISRA C 2004 rule 8.1) */

void MX_FREERTOS_Init(void) {

  /* Create the timer(s) */
  /* creation of C620Timer */
  C620TimerHandle = osTimerNew(C620TimerCallback, osTimerPeriodic, NULL, &C620Timer_attributes);

  /* Create the thread(s) */
  /* creation of defaultTask */
  defaultTaskHandle = osThreadNew(StartDefaultTask, NULL, &defaultTask_attributes);

  /* creation of LEDTask */
  LEDTaskHandle = osThreadNew(StartLEDTask, NULL, &LEDTask_attributes);

}

void StartDefaultTask(void *argument)
{
  /* init code for USB_DEVICE */
  MX_USB_DEVICE_Init();
  /* USER CODE BEGIN StartDefaultTask */
	 rmw_uros_set_custom_transport(
			true,
			(void *) &huart3,
			cubemx_transport_open,
			cubemx_transport_close,
			cubemx_transport_write,
			cubemx_transport_read);

	// micro-ROS connection check
	HAL_GPIO_TogglePin(GPIOB, GPIO_PIN_14);  // LD3 (RED) -> ON
	while(1) {
		rmw_ret_t ping_result = rmw_uros_ping_agent(1000, 5);  // ping Agent
		if(ping_result == RMW_RET_OK){
			break;
		}
	}
	HAL_GPIO_TogglePin(GPIOB, GPIO_PIN_14);  // LD3 (RED) -> OFF

	rcl_allocator_t freeRTOS_allocator = rcutils_get_zero_initialized_allocator();
	freeRTOS_allocator.allocate = microros_allocate;
	freeRTOS_allocator.deallocate = microros_deallocate;
	freeRTOS_allocator.reallocate = microros_reallocate;
	freeRTOS_allocator.zero_allocate =  microros_zero_allocate;

	if (!rcutils_set_default_allocator(&freeRTOS_allocator)) {
		printf("Error on default allocators (line %d)\n", __LINE__);
	}
	printf("start Micro-ROS Task\n");

	// micro-ROS app
	setvbuf(stdout, NULL, _IONBF, BUFSIZ);
	rcl_init_options_t init_options = rcl_get_zero_initialized_init_options();
	rclc_support_t support;
	rcl_allocator_t allocator = rcl_get_default_allocator();
	rcl_node_t node;
	rcl_node_options_t node_ops = rcl_node_get_default_options();

	// // node setting
	// RCCHECK(rclc_support_init(&support, 0, NULL, &allocator));  //create init_options
	// RCCHECK(rclc_node_init_default(&node, "f7_mros_node", "", &support));  // create node

	// node setting
	RCCHECK(rcl_init_options_init(&init_options, allocator));
	RCCHECK(rcl_init_options_set_domain_id(&init_options, 30)); // ROS_DOMAIN_IDの設定。今回は123としてる。
	rclc_support_init_with_options(&support, 0, NULL, &init_options, &allocator);
	RCCHECK(rclc_node_init_with_options(&node, "f7_mros_node", "", &support, &node_ops));

	// create executor
	rclc_executor_t executor;
	unsigned int num_handlers = 5; // TODO : 忘れずに変更
	RCCHECK(rclc_executor_init(&executor, &support.context, num_handlers, &allocator));

	// create subscriber for hand air
	rcl_subscription_t subscriber_air_hand;
	const char* sub_name_air_hand = "mros_input_air_hand";
	actuator_custom_msgs__msg__HandAirStatus actuator_msg_air_hand;
	RCCHECK(rclc_subscription_init_default(&subscriber_air_hand, &node, ROSIDL_GET_MSG_TYPE_SUPPORT(actuator_custom_msgs, msg, HandAirStatus), sub_name_air_hand));
	RCCHECK(rclc_executor_add_subscription(&executor, &subscriber_air_hand, &actuator_msg_air_hand, &subscription_callback_air_hand, ON_NEW_DATA));

	// create subscriber for shoot air
	rcl_subscription_t subscriber_air_shoot;
	const char* sub_name_air_shoot = "mros_input_air_shoot";
	actuator_custom_msgs__msg__ShootAirStatus actuator_msg_air_shoot;
	RCCHECK(rclc_subscription_init_default(&subscriber_air_shoot, &node, ROSIDL_GET_MSG_TYPE_SUPPORT(actuator_custom_msgs, msg, ShootAirStatus), sub_name_air_shoot));
	RCCHECK(rclc_executor_add_subscription(&executor, &subscriber_air_hand, &actuator_msg_air_hand, &subscription_callback_air_shoot, ON_NEW_DATA));

	// create subscriber for mcmd
	rcl_subscription_t subscriber_mcmd;
	const char* sub_name_mcmd = "mros_input_mcmd";
	std_msgs__msg__Int32MultiArray actuator_msg_mcmd;
	RCCHECK(rclc_subscription_init_default(&subscriber_mcmd, &node, ROSIDL_GET_MSG_TYPE_SUPPORT(std_msgs, msg, Int32MultiArray), sub_name_mcmd));
	RCCHECK(rclc_executor_add_subscription(&executor, &subscriber_mcmd, &actuator_msg_mcmd, &subscription_callback_mcmd, ON_NEW_DATA));

	// create subscriber for table
	rcl_subscription_t subscriber_table;
	const char* sub_name_table = "mros_input_table";
	std_msgs__msg__Float64 actuator_msg_table;
	RCCHECK(rclc_subscription_init_default(&subscriber_table, &node, ROSIDL_GET_MSG_TYPE_SUPPORT(std_msgs, msg, Float32), sub_name_table));
	RCCHECK(rclc_executor_add_subscription(&executor, &subscriber_table, &actuator_msg_table, &subscription_callback_table, ON_NEW_DATA));

	// create subscriber for foots
	rcl_subscription_t subscriber_vel;
	const char* sub_name_f = "cmd_vel";
	geometry_msgs__msg__Twist actuator_msg_f;
	RCCHECK(rclc_subscription_init_default(&subscriber_vel, &node, ROSIDL_GET_MSG_TYPE_SUPPORT(geometry_msgs, msg, Twist), sub_name_f));
	RCCHECK(rclc_executor_add_subscription(&executor, &subscriber_vel, &actuator_msg_f, &subscription_callback, ON_NEW_DATA));

	//rclc_executor_spin(&executor);
  	while(1){
          // エグゼキューターを実行してリクエストを処理
          rclc_executor_spin_some(&executor, RCL_MS_TO_NS(100));
          osDelay(10);
       //   HAL_GPIO_TogglePin(GPIOB, GPIO_PIN_0);
  	}

	// free resources
	RCCHECK(rclc_executor_fini(&executor));
	RCCHECK(rcl_subscription_fini(&subscriber_air_hand, &node));
	RCCHECK(rcl_subscription_fini(&subscriber_air_shoot, &node));
	RCCHECK(rcl_subscription_fini(&subscriber_mcmd, &node));
	RCCHECK(rcl_subscription_fini(&subscriber_table, &node));
	RCCHECK(rcl_subscription_fini(&subscriber_vel, &node));
	RCCHECK(rcl_node_fini(&node));

	//  /* Infinite loop */
	//  for(;;)
	//  {
	//    osDelay(1);
	//  }
  /* USER CODE END StartDefaultTask */
}

void StartLEDTask(void *argument)
{
  /* USER CODE BEGIN StartLEDTask */
  /* Infinite loop */
  for(;;)
  {
      HAL_GPIO_TogglePin(GPIOB, GPIO_PIN_7);  // LD2 (Blue)
      osDelay(100);
  }
  /* USER CODE END StartLEDTask */
}

/* C620TimerCallback function */
void C620TimerCallback(void *argument)
{
  /* USER CODE BEGIN C620TimerCallback */
    C620_SendRequest(c620_dev_info_global, 4, 1000.0f, &hcan1);
  /* USER CODE END C620TimerCallback */
}
